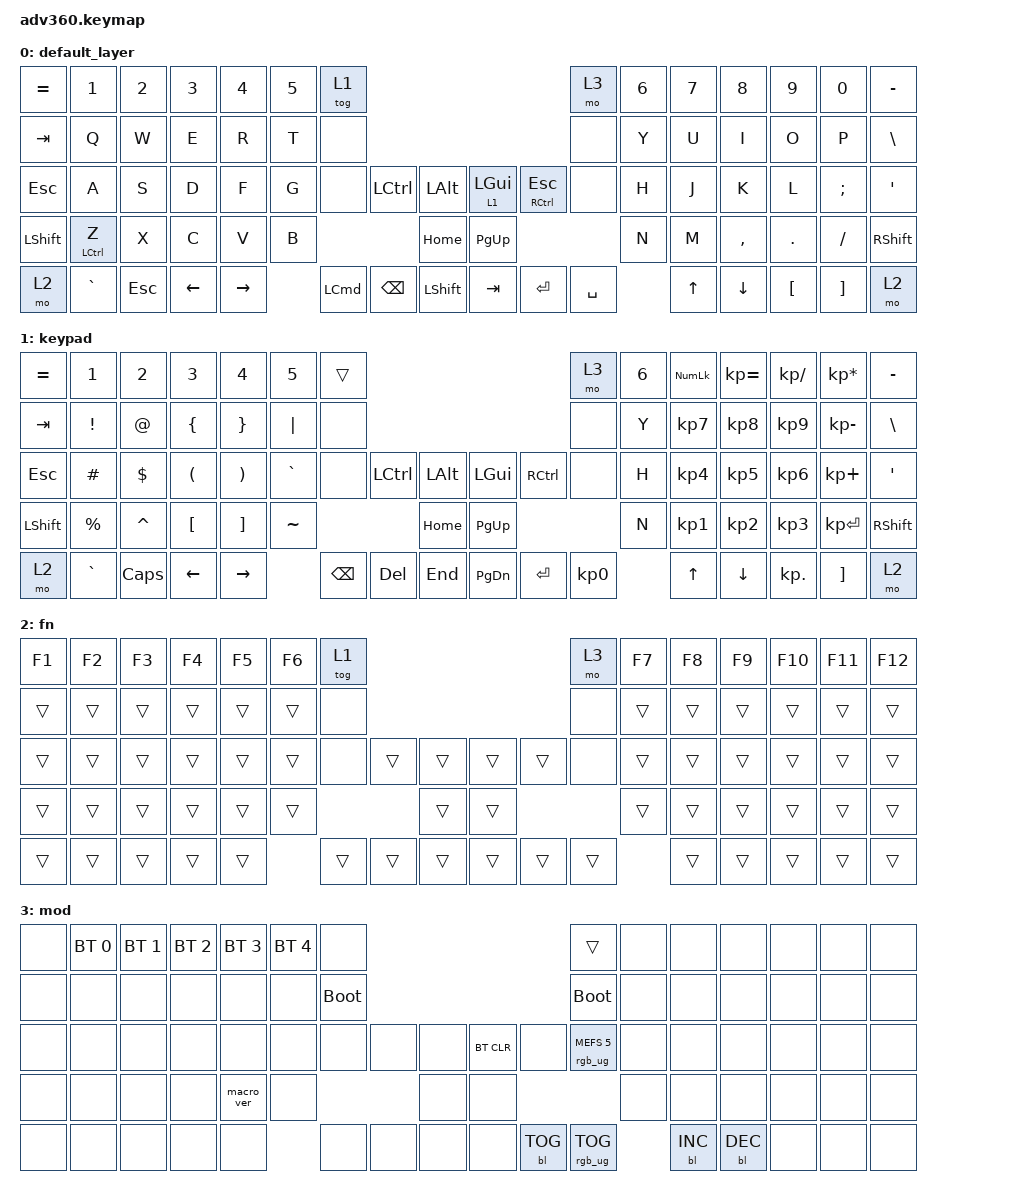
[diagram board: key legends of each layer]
#include <behaviors.dtsi>
#include <dt-bindings/zmk/backlight.h>
#include <dt-bindings/zmk/bt.h>
#include <dt-bindings/zmk/keys.h>
#include <dt-bindings/zmk/rgb.h>

/ {
    behaviors {
        #include "macros.dtsi"
      #include "version.dtsi"
      #ifndef VERSION_MACRO

        macro_ver: macro_ver {
            compatible = "zmk,behavior-macro";
            label = "macro_version";
            #binding-cells = <0>;
            bindings = <&kp RET>;
        };

        new_macro: new_macro {
            compatible = "zmk,behavior-macro";
            #binding-cells = <0>;
            bindings = <&none>;
            label = "NEW_MACRO";
        };

        #endif

        hm: homerow_mods {
            compatible = "zmk,behavior-hold-tap";
            label = "HOMEROW_MODS";
            #binding-cells = <2>;
            tapping-term-ms = <200>;
            quick_tap_ms = <175>;
            flavor = "tap-preferred";
            bindings = <&kp>, <&kp>;
        };
    };

    macros {
    };

    keymap {
        compatible = "zmk,keymap";

        default_layer {
            bindings = <
&kp EQUAL  &kp N1       &kp N2   &kp N3    &kp N4     &kp N5  &tog 1                                                                              &mo 3      &kp N6  &kp N7  &kp N8     &kp N9    &kp N0    &kp MINUS
&kp TAB    &kp Q        &kp W    &kp E     &kp R      &kp T   &none                                                                               &none      &kp Y   &kp U   &kp I      &kp O     &kp P     &kp BSLH
&kp ESC    &kp A        &kp S    &kp D     &kp F      &kp G   &none             &kp LCTRL      &kp LALT            &lt 1 LEFT_GUI  &mt RCTRL ESC  &none      &kp H   &kp J   &kp K      &kp L     &kp SEMI  &kp SQT
&kp LSHFT  &mt LCTRL Z  &kp X    &kp C     &kp V      &kp B                                    &kp HOME            &kp PG_UP                                 &kp N   &kp M   &kp COMMA  &kp DOT   &kp FSLH  &kp RSHFT
&mo 2      &kp GRAVE    &kp ESC  &kp LEFT  &kp RIGHT          &kp LEFT_COMMAND  &kp BACKSPACE  &kp LEFT_SHIFT      &kp TAB         &kp ENTER      &kp SPACE          &kp UP  &kp DOWN   &kp LBKT  &kp RBKT  &mo 2
            >;
        };

        keypad {
            bindings = <
&kp EQUAL  &kp N1           &kp N2       &kp N3                &kp N4                 &kp N5     &trans                                                   &mo 3      &kp N6  &kp KP_NUM  &kp KP_EQUAL  &kp KP_DIVIDE  &kp KP_MULTIPLY  &kp MINUS
&kp TAB    &kp EXCLAMATION  &kp AT_SIGN  &kp LEFT_BRACE        &kp RIGHT_BRACE        &kp PIPE   &none                                                    &none      &kp Y   &kp KP_N7   &kp KP_N8     &kp KP_N9      &kp KP_MINUS     &kp BSLH
&kp ESC    &kp POUND        &kp DOLLAR   &kp LEFT_PARENTHESIS  &kp RIGHT_PARENTHESIS  &kp GRAVE  &none     &kp LCTRL  &kp LALT      &kp LGUI   &kp RCTRL  &none      &kp H   &kp KP_N4   &kp KP_N5     &kp KP_N6      &kp KP_PLUS      &kp SQT
&kp LSHFT  &kp PERCENT      &kp CARET    &kp LEFT_BRACKET      &kp RIGHT_BRACKET      &kp TILDE                       &kp HOME      &kp PG_UP                        &kp N   &kp KP_N1   &kp KP_N2     &kp KP_N3      &kp KP_ENTER     &kp RSHFT
&mo 2      &kp GRAVE        &kp CAPS     &kp LEFT              &kp RIGHT                         &kp BSPC  &kp DEL    &kp END       &kp PG_DN  &kp ENTER  &kp KP_N0          &kp UP      &kp DOWN      &kp KP_DOT     &kp RBKT         &mo 2
            >;
        };

        fn {
            bindings = <
&kp F1  &kp F2  &kp F3  &kp F4  &kp F5  &kp F6  &tog 1                                      &mo 3   &kp F7  &kp F8  &kp F9  &kp F10  &kp F11  &kp F12
&trans  &trans  &trans  &trans  &trans  &trans  &none                                       &none   &trans  &trans  &trans  &trans   &trans   &trans
&trans  &trans  &trans  &trans  &trans  &trans  &none   &trans  &trans      &trans  &trans  &none   &trans  &trans  &trans  &trans   &trans   &trans
&trans  &trans  &trans  &trans  &trans  &trans                  &trans      &trans                  &trans  &trans  &trans  &trans   &trans   &trans
&trans  &trans  &trans  &trans  &trans          &trans  &trans  &trans      &trans  &trans  &trans          &trans  &trans  &trans   &trans   &trans
            >;
        };

        mod {
            bindings = <
&none  &bt BT_SEL 0  &bt BT_SEL 1  &bt BT_SEL 2  &bt BT_SEL 3  &bt BT_SEL 4  &none                                                  &trans                  &none  &none       &none       &none  &none  &none
&none  &none         &none         &none         &none         &none         &bootloader                                            &bootloader             &none  &none       &none       &none  &none  &none
&none  &none         &none         &none         &none         &none         &none        &none  &none      &bt BT_CLR  &none       &rgb_ug RGB_MEFS_CMD 5  &none  &none       &none       &none  &none  &none
&none  &none         &none         &none         &macro_ver    &none                             &none      &none                                           &none  &none       &none       &none  &none  &none
&none  &none         &none         &none         &none                       &none        &none  &none      &none       &bl BL_TOG  &rgb_ug RGB_TOG                &bl BL_INC  &bl BL_DEC  &none  &none  &none
            >;
        };
    };
};
